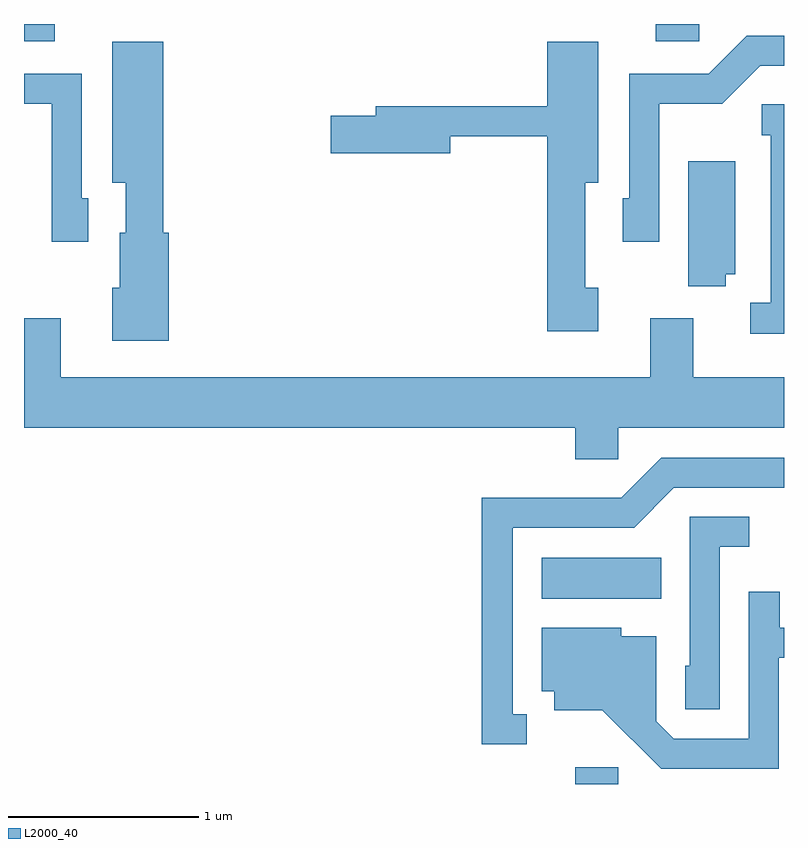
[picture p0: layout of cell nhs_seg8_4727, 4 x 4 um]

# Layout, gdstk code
import gdstk
lib = gdstk.Library(unit=1e-6, precision=1e-09)
def R(c, l, rs):  # rectangles x0, y0, x1, y1
    for r in rs: c.add(gdstk.rectangle(r[:2], r[2:], *l))
def P(c, l, *ps):  # polygons
    for p in ps: c.add(gdstk.Polygon(p, *l))
L2000_40 = (2000, 40)

nhs_seg8_4727 = lib.new_cell('nhs_seg8_4727')
R(nhs_seg8_4727, L2000_40, [(330.511,1812.342,330.739,1812.429), (330.336,1813.316,330.964,1813.534), (327.611,1816.251,327.774,1816.342), (330.936,1816.251,331.164,1816.342)])
P(nhs_seg8_4727, L2000_40, [(330.954,1815.921),(331.287,1815.921),(331.487,1816.121),(331.611,1816.121),(331.611,1816.279),(331.414,1816.279),(331.214,1816.079),(330.796,1816.079),(330.796,1815.424),(330.761,1815.424),(330.761,1815.196),(330.954,1815.196)],
  [(328.374,1815.244),(328.344,1815.244),(328.344,1816.249),(328.076,1816.249),(328.076,1815.506),(328.146,1815.506),(328.146,1815.244),(328.116,1815.244),(328.116,1814.954),(328.076,1814.954),(328.076,1814.676),(328.374,1814.676)],
  [(330.634,1814.954),(330.564,1814.954),(330.564,1815.506),(330.634,1815.506),(330.634,1816.249),(330.366,1816.249),(330.366,1815.909),(329.461,1815.909),(329.461,1815.859),(329.226,1815.859),(329.226,1815.661),(329.854,1815.661),(329.854,1815.751),(330.366,1815.751),(330.366,1814.726),(330.634,1814.726)],
  [(327.949,1815.424),(327.914,1815.424),(327.914,1816.079),(327.611,1816.079),(327.611,1815.921),(327.756,1815.921),(327.756,1815.196),(327.949,1815.196)],
  [(331.611,1815.919),(331.493,1815.919),(331.493,1815.756),(331.541,1815.756),(331.541,1814.874),(331.433,1814.874),(331.433,1814.711),(331.611,1814.711)],
  [(331.304,1815.026),(331.354,1815.026),(331.354,1815.619),(331.106,1815.619),(331.106,1814.961),(331.304,1814.961)],
  [(330.739,1814.216),(331.611,1814.216),(331.611,1814.484),(331.134,1814.484),(331.134,1814.794),(330.906,1814.794),(330.906,1814.484),(327.804,1814.484),(327.804,1814.794),(327.611,1814.794),(327.611,1814.216),(330.511,1814.216),(330.511,1814.051),(330.739,1814.051)],
  [(330.258,1812.709),(330.184,1812.709),(330.184,1813.691),(330.822,1813.691),(331.032,1813.901),(331.611,1813.901),(331.611,1814.059),(330.964,1814.059),(330.754,1813.849),(330.021,1813.849),(330.021,1812.551),(330.258,1812.551)],
  [(331.274,1813.591),(331.428,1813.591),(331.428,1813.749),(331.116,1813.749),(331.116,1812.964),(331.091,1812.964),(331.091,1812.736),(331.274,1812.736)],
  [(331.584,1813.006),(331.611,1813.006),(331.611,1813.164),(331.589,1813.164),(331.589,1813.353),(331.426,1813.353),(331.426,1812.579),(331.032,1812.579),(330.939,1812.672),(330.939,1813.119),(330.754,1813.119),(330.754,1813.164),(330.336,1813.164),(330.336,1812.831),(330.401,1812.831),(330.401,1812.731),(330.654,1812.731),(330.964,1812.421),(331.584,1812.421)])

lib.write_gds('nhs_seg8_4727.gds')
